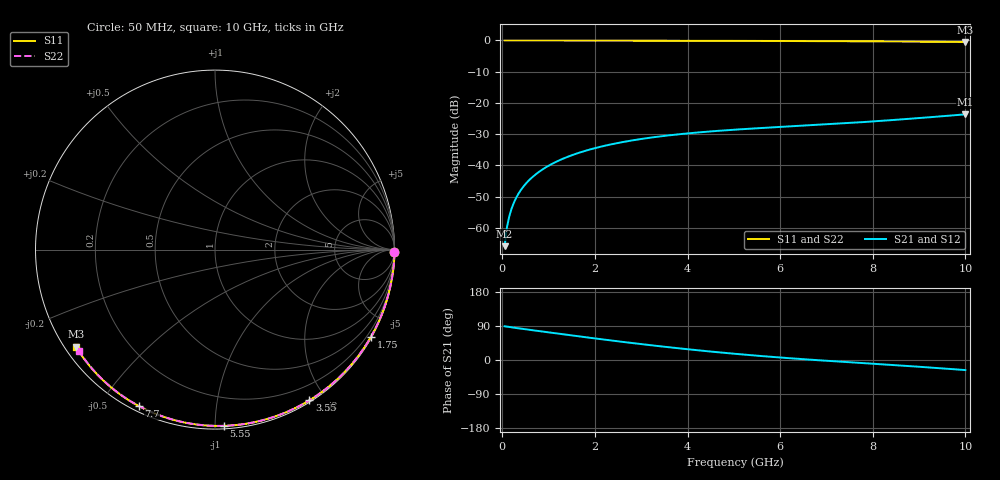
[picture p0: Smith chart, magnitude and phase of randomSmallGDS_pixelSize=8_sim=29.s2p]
! freq	dB(S11)	phase(S11)	dB(S12)	phase(S12)
!  dB(S21)	phase(S21)	dB(S22)	phase(S22)
!S-par simulation data
#  GHz  S  DB  R 50
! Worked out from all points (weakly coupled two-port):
!   200 points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, 50 MHz to 10 GHz, reference 50 ohm
!   highest |S21| = -23.66 dB at 10 GHz (marker M1); lowest = -65.9 dB at 50 MHz (marker M2)
!   lowest |S11| = -0.5 dB at 10 GHz (marker M3), VSWR 35.38, Z = 1.55 - j15.7 ohm
!   |S11| at or under -10 dB: nowhere
!   |S22| runs from -0.5 to 0.0 dB; largest |S21 - S12| = 0
!   S11 on the Smith chart (normalised r, x): 50 MHz: open; 1.75 GHz: 0.03, -3.82; 3.55 GHz: 0.02, -1.80; 5.55 GHz: 0.02, -1.05; 7.7 GHz: 0.02, -0.62; 10 GHz: 0.03, -0.31
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0.05  -0.00 -0.9  -65.85 89.0  -65.85 89.0  -0.00 -0.8
0.1  -0.00 -1.7  -59.84 88.0  -59.84 88.0  -0.00 -1.7
0.15  -0.00 -2.6  -56.33 87.1  -56.33 87.1  -0.00 -2.5
0.2  -0.00 -3.4  -53.85 86.2  -53.85 86.2  -0.00 -3.4
0.25  -0.00 -4.3  -51.93 85.3  -51.93 85.3  -0.00 -4.2
0.35  -0.00 -6.0  -49.04 83.6  -49.04 83.6  -0.00 -5.9
0.5  -0.01 -8.5  -45.99 81.1  -45.99 81.1  -0.01 -8.4
0.7  -0.01 -11.9  -43.12 77.8  -43.12 77.8  -0.01 -11.7
1  -0.02 -16.9  -40.10 72.9  -40.10 72.9  -0.02 -16.7
1.35  -0.03 -22.8  -37.61 67.3  -37.61 67.3  -0.03 -22.5
1.75  -0.04 -29.4  -35.52 60.9  -35.52 60.9  -0.04 -29.0
2.5  -0.05 -41.5  -32.81 49.3  -32.81 49.3  -0.05 -41.0
3.4  -0.08 -55.7  -30.73 36.3  -30.73 36.3  -0.08 -55.0
3.55  -0.08 -58.0  -30.46 34.3  -30.46 34.3  -0.08 -57.3
4.3  -0.10 -69.3  -29.36 24.7  -29.36 24.7  -0.10 -68.4
5.05  -0.13 -80.2  -28.53 16.1  -28.53 16.1  -0.13 -79.2
5.55  -0.15 -87.2  -28.07 10.9  -28.07 10.9  -0.14 -86.2
6.7  -0.20 -102.9  -27.11 0.4  -27.11 0.4  -0.20 -101.7
7.7  -0.27 -116.0  -26.22 -7.5  -26.22 -7.5  -0.27 -114.7
8.35  -0.32 -124.3  -25.56 -12.5  -25.56 -12.5  -0.32 -122.9
9.2  -0.40 -135.0  -24.61 -19.5  -24.61 -19.5  -0.40 -133.5
10  -0.49 -145.1  -23.66 -26.6  -23.66 -26.6  -0.49 -143.5
